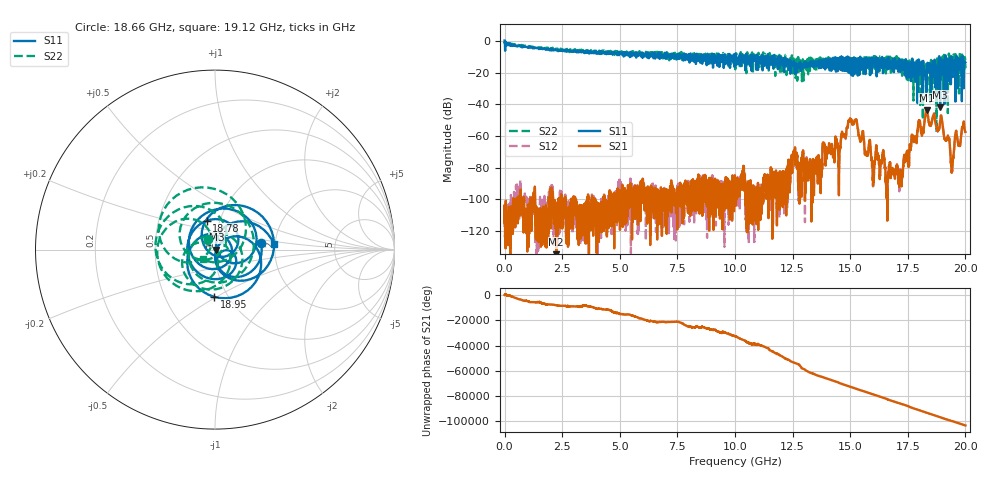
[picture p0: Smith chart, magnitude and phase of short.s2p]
! MS46122B
! 2250307/22442219
! 2/19/2026 8:46:58 AM
! C:\USERS\SPARKY\DOCUMENTS\VNA_DATA\FEB19_2026\WARM2\SHORT.S2P
! CHANNEL.1
! TR.MEASUREMENT
! RAW.DATA
# GHZ S RI R 50.0
! FREQ.GHZ  S11RE  S11IM  S21RE  S21IM  S12RE  S12IM  S22RE  S22IM
!; PortSelection: Port_12
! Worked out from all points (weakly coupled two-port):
!   10001 points, 1 MHz to 20 GHz, reference 50 ohm
!   highest |S21| = -43.51 dB at 18.32 GHz (marker M1); lowest = -137.0 dB at 2.243 GHz (marker M2)
!   lowest |S11| = -41.9 dB at 18.9 GHz (marker M3), VSWR 1.02, Z = 50.8 - j0.0237 ohm
!   |S11| at or under -10 dB: 11.98 GHz to 14.61 GHz (2.637 GHz wide, 19.8 % of centre); 15.44 GHz to 16.38 GHz (945 MHz wide, 5.94 % of centre); 16.39 GHz to 18.85 GHz (2.464 GHz wide, 14 % of centre) (the widest 3 of 71)
!   |S22| runs from -57.6 to -0.1 dB; largest |S21 - S12| = 0.0015
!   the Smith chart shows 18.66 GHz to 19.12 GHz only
!   S11 on the Smith chart (normalised r, x): 18.66 GHz: 1.67, +0.14; 18.78 GHz: 0.87, +0.29; 18.95 GHz: 0.86, -0.49; 19.12 GHz: 1.97, +0.13
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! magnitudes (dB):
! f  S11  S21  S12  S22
! 1 MHz  0.4  -107.7  -112.0  -0.2
! 2.243 GHz  -5.8  -137.0  -122.1  -5.2
! 3.335 GHz  -7.0  -111.7  -110.2  -5.4
! 6.669 GHz  -9.2  -116.1  -102.8  -9.1
! 10 GHz  -9.7  -90.2  -90.9  -12.6
! 12.21 GHz  -15.5  -81.8  -81.7  -9.6
! 12.61 GHz  -19.1  -67.4  -67.5  -13.6
! 13.33 GHz  -13.6  -81.0  -81.3  -13.4
! 14.51 GHz  -17.4  -82.4  -81.9  -15.2
! 15.01 GHz  -14.1  -49.7  -49.9  -13.4
! 16 GHz  -12.9  -89.3  -89.9  -14.6
! 16.67 GHz  -10.5  -83.3  -82.4  -10.3
! 17.21 GHz  -12.0  -82.6  -83.5  -11.0
! 18.32 GHz  -21.4  -43.5  -43.7  -23.5
! 18.66 GHz  -11.8  -46.5  -46.7  -22.9
! 18.78 GHz  -15.5  -56.5  -56.5  -10.8
! 18.9 GHz  -41.9  -51.1  -51.1  -13.9
! 18.95 GHz  -11.6  -47.4  -47.2  -24.1
! 19.12 GHz  -9.6  -62.2  -62.2  -21.1
! 19.43 GHz  -11.5  -80.7  -81.1  -15.2
! 19.59 GHz  -12.1  -57.1  -56.9  -12.4
! 20 GHz  -13.5  -57.3  -57.9  -17.2
